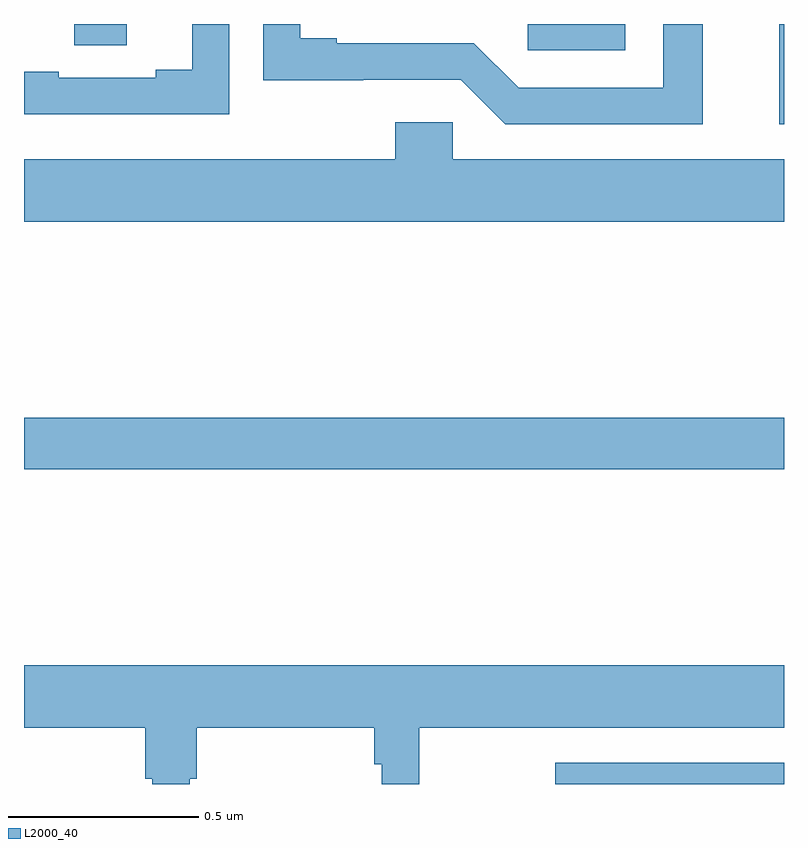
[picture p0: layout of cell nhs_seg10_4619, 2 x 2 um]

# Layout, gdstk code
import gdstk
lib = gdstk.Library(unit=1e-6, precision=1e-09)
def R(c, l, rs):  # rectangles x0, y0, x1, y1
    for r in rs: c.add(gdstk.rectangle(r[:2], r[2:], *l))
def P(c, l, *ps):  # polygons
    for p in ps: c.add(gdstk.Polygon(p, *l))
L2000_40 = (2000, 40)

nhs_seg10_4619 = lib.new_cell('nhs_seg10_4619')
R(nhs_seg10_4619, L2000_40, [(169.398,1301.5,170,1301.556), (168,1302.328,170,1302.464), (169.988,1303.236,170,1303.5), (169.326,1303.431,169.582,1303.5), (168.132,1303.444,168.271,1303.5)])
P(nhs_seg10_4619, L2000_40, [(169.786,1303.5),(169.682,1303.5),(169.682,1303.332),(169.302,1303.332),(169.184,1303.45),(169.088,1303.45),(169.088,1303.449),(168.823,1303.449),(168.823,1303.462),(168.727,1303.462),(168.727,1303.5),(168.63,1303.5),(168.63,1303.352),(168.893,1303.352),(168.893,1303.353),(169.149,1303.353),(169.266,1303.236),(169.786,1303.236)],
  [(168.54,1303.5),(168.443,1303.5),(168.443,1303.379),(168.347,1303.379),(168.347,1303.359),(168.091,1303.359),(168.091,1303.374),(168,1303.374),(168,1303.263),(168.54,1303.263)],
  [(170,1303.144),(169.128,1303.144),(169.128,1303.242),(168.977,1303.242),(168.977,1303.144),(168,1303.144),(168,1302.98),(170,1302.98)],
  [(168.436,1301.514),(168.455,1301.514),(168.455,1301.648),(168.922,1301.648),(168.922,1301.552),(168.942,1301.552),(168.942,1301.5),(169.04,1301.5),(169.04,1301.648),(170,1301.648),(170,1301.812),(168,1301.812),(168,1301.648),(168.319,1301.648),(168.319,1301.514),(168.338,1301.514),(168.338,1301.5),(168.436,1301.5)])

lib.write_gds('nhs_seg10_4619.gds')
